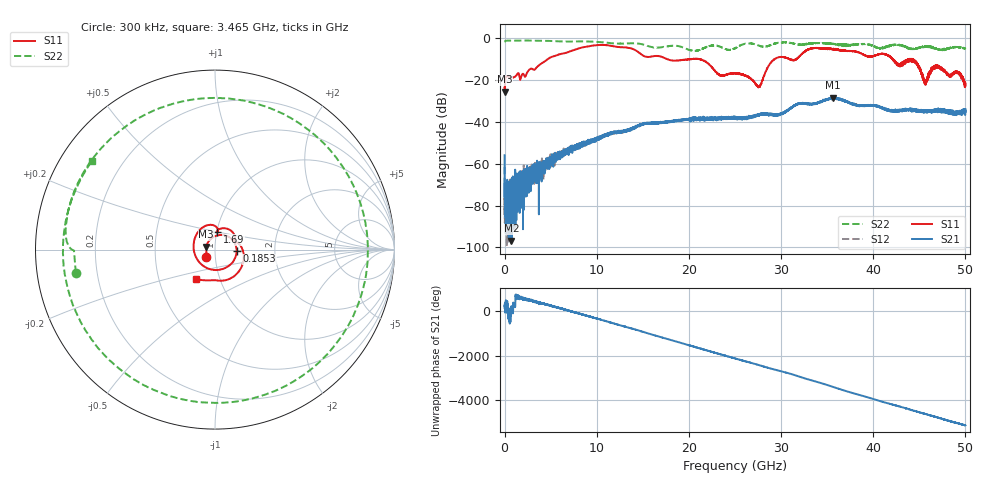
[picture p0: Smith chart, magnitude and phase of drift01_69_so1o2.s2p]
!Created with skrf (http://scikit-rf.org).
# Hz S RI R 50.0
!freq ReS11 ImS11 ReS21 ImS21 ReS12 ImS12 ReS22 ImS22
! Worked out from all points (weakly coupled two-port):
!   10001 points, 300 kHz to 50 GHz, reference 50 ohm
!   highest |S21| = -28.63 dB at 35.59 GHz (marker M1); lowest = -96.8 dB at 730.3 MHz (marker M2)
!   lowest |S11| = -25.8 dB at 5.3 MHz (marker M3), VSWR 1.11, Z = 45.3 + j1.44 ohm
!   |S11| at or under -10 dB: start of sweep to 4.763 GHz; 17.52 GHz to 29.38 GHz (11.86 GHz wide, 50.6 % of centre); 42.05 GHz to end of sweep (the widest 3 of 8)
!   |S22| runs from -6.4 to -1.4 dB; largest |S21 - S12| = 0.0047
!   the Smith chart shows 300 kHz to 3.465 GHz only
!   S11 on the Smith chart (normalised r, x): 300 kHz: 0.91, -0.08; 185.3 MHz: 1.27, -0.02; 1.69 GHz: 1.00, +0.20; 3.465 GHz: 0.77, -0.26
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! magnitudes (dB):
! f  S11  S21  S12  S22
! 300 kHz  -23.8  -56.0  -61.7  -2.1
! 5.3 MHz  -25.8  -76.1  -84.3  -2.1
! 185.3 MHz  -18.3  -76.8  -72.2  -1.4
! 730.3 MHz  -19.0  -96.8  -71.6  -1.5
! 1.69 GHz  -20.1  -68.0  -68.0  -1.4
! 3.465 GHz  -14.3  -61.9  -61.9  -1.5
! 8.335 GHz  -4.8  -51.4  -51.4  -1.8
! 16.67 GHz  -8.8  -40.8  -40.6  -4.8
! 21.22 GHz  -10.3  -39.1  -38.3  -5.7
! 23.38 GHz  -18.1  -38.2  -38.4  -4.3
! 25 GHz  -16.9  -38.3  -38.6  -5.0
! 27.59 GHz  -23.3  -36.9  -36.7  -3.8
! 29.28 GHz  -10.3  -36.8  -36.9  -2.9
! 31.47 GHz  -10.7  -32.4  -32.3  -2.9
! 33.34 GHz  -5.1  -31.5  -31.7  -2.8
! 35.59 GHz  -5.5  -28.6  -28.9  -3.0
! 41.67 GHz  -8.6  -34.7  -34.6  -4.1
! 42.8 GHz  -12.6  -34.5  -34.6  -3.4
! 44.43 GHz  -11.6  -34.5  -34.8  -5.5
! 45.63 GHz  -21.2  -35.3  -35.4  -4.1
! 46.96 GHz  -13.2  -35.2  -34.9  -5.5
! 50 GHz  -21.9  -34.0  -35.2  -5.3
